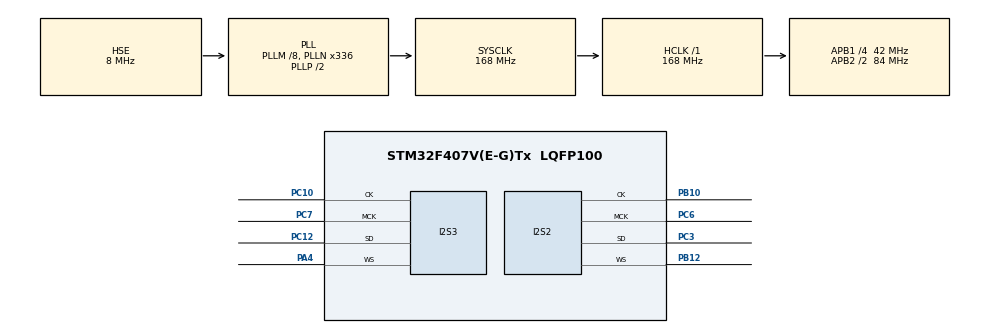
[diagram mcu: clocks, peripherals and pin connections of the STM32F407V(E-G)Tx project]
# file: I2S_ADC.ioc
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Dma.Request0=SPI2_TX
Dma.Request1=SPI3_RX
Dma.SPI2_TX.0.Direction=DMA_MEMORY_TO_PERIPH
Dma.SPI2_TX.0.FIFOMode=DMA_FIFOMODE_DISABLE
Dma.SPI2_TX.0.Instance=DMA1_Stream4
Dma.SPI2_TX.0.MemDataAlignment=DMA_MDATAALIGN_HALFWORD
Dma.SPI2_TX.0.MemInc=DMA_MINC_ENABLE
Dma.SPI2_TX.0.Mode=DMA_CIRCULAR
Dma.SPI2_TX.0.PeriphDataAlignment=DMA_PDATAALIGN_HALFWORD
Dma.SPI2_TX.0.PeriphInc=DMA_PINC_DISABLE
Dma.SPI2_TX.0.Priority=DMA_PRIORITY_LOW
Dma.SPI3_RX.1.Direction=DMA_PERIPH_TO_MEMORY
Dma.SPI3_RX.1.FIFOMode=DMA_FIFOMODE_DISABLE
Dma.SPI3_RX.1.Instance=DMA1_Stream0
Dma.SPI3_RX.1.MemDataAlignment=DMA_MDATAALIGN_WORD
Dma.SPI3_RX.1.MemInc=DMA_MINC_ENABLE
Dma.SPI3_RX.1.Mode=DMA_CIRCULAR
Dma.SPI3_RX.1.PeriphDataAlignment=DMA_PDATAALIGN_WORD
Dma.SPI3_RX.1.PeriphInc=DMA_PINC_DISABLE
Dma.SPI3_RX.1.Priority=DMA_PRIORITY_LOW
I2S2.AudioFreq=I2S_AUDIOFREQ_48K
I2S2.DataFormat=I2S_DATAFORMAT_24B
I2S2.ErrorAudioFreq=-2.34 %
I2S2.FullDuplexMode=I2S_FULLDUPLEXMODE_DISABLE
I2S2.Instance=SPI$Index
I2S2.Mode=I2S_MODE_MASTER_TX
I2S2.RealAudioFreq=46.875 KHz
I2S2.Standard=I2S_STANDARD_PHILIPS
I2S2.VirtualMode=I2S_MODE_MASTER
I2S3.AudioFreq=I2S_AUDIOFREQ_48K
I2S3.DataFormat=I2S_DATAFORMAT_24B
I2S3.ErrorAudioFreq=-2.34 %
I2S3.FullDuplexMode=I2S_FULLDUPLEXMODE_DISABLE
I2S3.Instance=SPI$Index
I2S3.Mode=I2S_MODE_MASTER_RX
I2S3.RealAudioFreq=46.875 KHz
I2S3.VirtualMode=I2S_MODE_MASTER
Mcu.Family=STM32F4
Mcu.Name=STM32F407V(E-G)Tx
Mcu.Package=LQFP100
NVIC.DMA1_Stream0_IRQn=true\:0\:0\:false\:false\:true\:false\:true
NVIC.DMA1_Stream4_IRQn=true\:0\:0\:false\:false\:true\:false\:true
NVIC.PriorityGroup=NVIC_PRIORITYGROUP_0
PA13.Mode=Serial_Wire
PA13.Signal=SYS_JTMS-SWDIO
PA14.Mode=Serial_Wire
PA14.Signal=SYS_JTCK-SWCLK
PA4.Mode=Half_Duplex_Master
PA4.Signal=I2S3_WS
PB10.Mode=Half_Duplex_Master
PB10.Signal=I2S2_CK
PB12.Mode=Half_Duplex_Master
PB12.Signal=I2S2_WS
PC10.Mode=Half_Duplex_Master
PC10.Signal=I2S3_CK
PC12.Mode=Half_Duplex_Master
PC12.Signal=I2S3_SD
PC3.Mode=Half_Duplex_Master
PC3.Signal=I2S2_SD
PC6.Mode=Master_Clock_Activated
PC6.Signal=I2S2_MCK
PC7.Mode=Master_Clock_Activated
PC7.Signal=I2S3_MCK
PH0-OSC_IN.Mode=HSE-External-Oscillator
PH0-OSC_IN.Signal=RCC_OSC_IN
PH1-OSC_OUT.Mode=HSE-External-Oscillator
PH1-OSC_OUT.Signal=RCC_OSC_OUT
ProjectManager.HeapSize=0x200
ProjectManager.StackSize=0x400
ProjectManager.TargetToolchain=STM32CubeIDE
RCC.48MHZClocksFreq_Value=48000000
RCC.AHBFreq_Value=168000000
RCC.APB1CLKDivider=RCC_HCLK_DIV4
RCC.APB1Freq_Value=42000000
RCC.APB1TimFreq_Value=84000000
RCC.APB2CLKDivider=RCC_HCLK_DIV2
RCC.APB2Freq_Value=84000000
RCC.APB2TimFreq_Value=168000000
RCC.CortexFreq_Value=168000000
RCC.HCLKFreq_Value=168000000
RCC.HSE_VALUE=8000000
RCC.HSI_VALUE=16000000
RCC.LSE_VALUE=32768
RCC.PLLM=8
RCC.PLLN=336
RCC.PLLQ=7
RCC.PLLSourceVirtual=RCC_PLLSOURCE_HSE
RCC.SYSCLKFreq_VALUE=168000000
RCC.SYSCLKSource=RCC_SYSCLKSOURCE_PLLCLK
RCC.VCOOutputFreq_Value=336000000
TIM2.Period=849
VP_TIM2_VS_ClockSourceINT.Mode=Internal
board=STM32F4DISCOVERY

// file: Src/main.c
/* USER CODE BEGIN Header */
/**
  ******************************************************************************
  * @file           : main.c
  * @brief          : Main program body
  ******************************************************************************
  * @attention
  *
  * <h2><center>&copy; Copyright (c) 2019 STMicroelectronics.
  * All rights reserved.</center></h2>
  *
  * This software component is licensed by ST under Ultimate Liberty license
  * SLA0044, the "License"; You may not use this file except in compliance with
  * the License. You may obtain a copy of the License at:
  *                             www.st.com/SLA0044
  *
  ******************************************************************************
  */
/* USER CODE END Header */

#include "main.h"

/* USER CODE BEGIN Includes */
#include <math.h>
/* USER CODE END Includes */

/* USER CODE BEGIN PD */

//#of samples user accesses per data block
#define PI 3.14159f

//sample rate and output frequency of sine
#define F_SAMPLE		48000.0f
#define F_OUT			1000.0f

//#of samples user accesses per data block
#define DATASIZE 128

//full size of buffer
#define FULLBUFFERSIZE 256

/* USER CODE END PD */

I2S_HandleTypeDef hi2s2;
I2S_HandleTypeDef hi2s3;
DMA_HandleTypeDef hdma_spi2_tx;
DMA_HandleTypeDef hdma_spi3_rx;

TIM_HandleTypeDef htim2;

/* USER CODE BEGIN PV */
//ADC and DAC buffers
struct uint_24 {
    unsigned uint24 :24;
} __attribute__((packed));

uint32_t adc_val[FULLBUFFERSIZE];
uint32_t dac_val[FULLBUFFERSIZE];

//pointers to the half-buffer, which will get processed
static volatile uint32_t* inbuffptr;
static volatile uint32_t* outbuffptr;

/*float mySinVal;
float sample_dt;
uint16_t sample_N;
uint16_t i_t;

int32_t dataI2S[4400];
uint16_t data;*/

/* USER CODE END PV */

void SystemClock_Config(void);
static void MX_GPIO_Init(void);
static void MX_DMA_Init(void);
static void MX_I2S2_Init(void);
static void MX_TIM2_Init(void);
static void MX_I2S3_Init(void);

/* USER CODE BEGIN 0 */
/*void HAL_I2S_RxHalfCpltCallback(I2S_HandleTypeDef *hi2s)
{

	//first half of ADC buffer is full
		inbuffptr = &adc_val[0];
		outbuffptr = &dac_val[DATASIZE];

}*/

/*void HAL_I2S_RxCpltCallback(I2S_HandleTypeDef *hi2s)
{

	//second half of ADC buffer is full
			inbuffptr = &adc_val[DATASIZE];
			outbuffptr = &dac_val[0];

}*/

void processDSP(){
	for(int n = 0; n < DATASIZE; n++){
		//input coming in is identical to output
		outbuffptr[n] = inbuffptr[n];
	}
}
/* USER CODE END 0 */

int main(void)
{
  /* USER CODE BEGIN 1 */
	//sample_dt = F_OUT/F_SAMPLE;
	//sample_N = F_SAMPLE/F_OUT;
  /* USER CODE END 1 */

  /* MCU Configuration--------------------------------------------------------*/

  /* Reset of all peripherals, Initializes the Flash interface and the Systick. */
  HAL_Init();

  /* Configure the system clock */
  SystemClock_Config();

  /* Initialize all configured peripherals */
  MX_GPIO_Init();
  MX_DMA_Init();
  MX_I2S2_Init();
  MX_TIM2_Init();
  MX_I2S3_Init();
  /* USER CODE BEGIN 2 */

  //Build Sine wave
    /*for (uint16_t i=0; i<sample_N; i++) {
    	mySinVal = sinf(i*2*PI*sample_dt);
    	dataI2S[i*2] = (mySinVal)*8388607;    //left data (L WS) (0 2 4 6 8 10 12)
    	dataI2S[i*2 + 1] = (mySinVal + 1)*4194303; //Right data (H WS)  (1 3 5 7 9 11 13)
    	dataI2S[i*2] = ((dataI2S[i*2] & 0x00FFFF00) >> 8) | ((dataI2S[i*2] & 0xFF) << 24);
    	dataI2S[i*2 + 1] = ((dataI2S[i*2 + 1] & 0x00FFFF00) >> 8) | ((dataI2S[i*2 + 1] & 0xFF) << 24);
    }*/

  /* USER CODE END 2 */

  /* Infinite loop */
  /* USER CODE BEGIN WHILE */
  while (1)
  {

	  HAL_I2S_Receive_DMA(&hi2s3, (uint16_t *)adc_val, DATASIZE);
	  HAL_I2S_Transmit_DMA(&hi2s2, (uint16_t *)adc_val, DATASIZE);
    /* USER CODE END WHILE */

  }
}

void SystemClock_Config(void)
{
  RCC_OscInitTypeDef RCC_OscInitStruct = {0};
  RCC_ClkInitTypeDef RCC_ClkInitStruct = {0};
  RCC_PeriphCLKInitTypeDef PeriphClkInitStruct = {0};

  /** Configure the main internal regulator output voltage
  */
  __HAL_RCC_PWR_CLK_ENABLE();
  __HAL_PWR_VOLTAGESCALING_CONFIG(PWR_REGULATOR_VOLTAGE_SCALE1);
  /** Initializes the CPU, AHB and APB busses clocks
  */
  RCC_OscInitStruct.OscillatorType = RCC_OSCILLATORTYPE_HSE;
  RCC_OscInitStruct.HSEState = RCC_HSE_ON;
  RCC_OscInitStruct.PLL.PLLState = RCC_PLL_ON;
  RCC_OscInitStruct.PLL.PLLSource = RCC_PLLSOURCE_HSE;
  RCC_OscInitStruct.PLL.PLLM = 8;
  RCC_OscInitStruct.PLL.PLLN = 336;
  RCC_OscInitStruct.PLL.PLLP = RCC_PLLP_DIV2;
  RCC_OscInitStruct.PLL.PLLQ = 7;
  if (HAL_RCC_OscConfig(&RCC_OscInitStruct) != HAL_OK)
  {
    Error_Handler();
  }
  /** Initializes the CPU, AHB and APB busses clocks
  */
  RCC_ClkInitStruct.ClockType = RCC_CLOCKTYPE_HCLK|RCC_CLOCKTYPE_SYSCLK
                              |RCC_CLOCKTYPE_PCLK1|RCC_CLOCKTYPE_PCLK2;
  RCC_ClkInitStruct.SYSCLKSource = RCC_SYSCLKSOURCE_PLLCLK;
  RCC_ClkInitStruct.AHBCLKDivider = RCC_SYSCLK_DIV1;
  RCC_ClkInitStruct.APB1CLKDivider = RCC_HCLK_DIV4;
  RCC_ClkInitStruct.APB2CLKDivider = RCC_HCLK_DIV2;

  if (HAL_RCC_ClockConfig(&RCC_ClkInitStruct, FLASH_LATENCY_5) != HAL_OK)
  {
    Error_Handler();
  }
  PeriphClkInitStruct.PeriphClockSelection = RCC_PERIPHCLK_I2S;
  PeriphClkInitStruct.PLLI2S.PLLI2SN = 192;
  PeriphClkInitStruct.PLLI2S.PLLI2SR = 2;
  if (HAL_RCCEx_PeriphCLKConfig(&PeriphClkInitStruct) != HAL_OK)
  {
    Error_Handler();
  }
}

static void MX_I2S2_Init(void)
{

  hi2s2.Instance = SPI2;
  hi2s2.Init.Mode = I2S_MODE_MASTER_TX;
  hi2s2.Init.Standard = I2S_STANDARD_PHILIPS;
  hi2s2.Init.DataFormat = I2S_DATAFORMAT_24B;
  hi2s2.Init.MCLKOutput = I2S_MCLKOUTPUT_ENABLE;
  hi2s2.Init.AudioFreq = I2S_AUDIOFREQ_48K;
  hi2s2.Init.CPOL = I2S_CPOL_LOW;
  hi2s2.Init.ClockSource = I2S_CLOCK_PLL;
  hi2s2.Init.FullDuplexMode = I2S_FULLDUPLEXMODE_DISABLE;
  if (HAL_I2S_Init(&hi2s2) != HAL_OK)
  {
    Error_Handler();
  }

}

static void MX_I2S3_Init(void)
{

  hi2s3.Instance = SPI3;
  hi2s3.Init.Mode = I2S_MODE_MASTER_RX;
  hi2s3.Init.Standard = I2S_STANDARD_PHILIPS;
  hi2s3.Init.DataFormat = I2S_DATAFORMAT_24B;
  hi2s3.Init.MCLKOutput = I2S_MCLKOUTPUT_ENABLE;
  hi2s3.Init.AudioFreq = I2S_AUDIOFREQ_48K;
  hi2s3.Init.CPOL = I2S_CPOL_LOW;
  hi2s3.Init.ClockSource = I2S_CLOCK_PLL;
  hi2s3.Init.FullDuplexMode = I2S_FULLDUPLEXMODE_DISABLE;
  if (HAL_I2S_Init(&hi2s3) != HAL_OK)
  {
    Error_Handler();
  }

}

static void MX_TIM2_Init(void)
{

  TIM_ClockConfigTypeDef sClockSourceConfig = {0};
  TIM_MasterConfigTypeDef sMasterConfig = {0};

  htim2.Instance = TIM2;
  htim2.Init.Prescaler = 0;
  htim2.Init.CounterMode = TIM_COUNTERMODE_UP;
  htim2.Init.Period = 849;
  htim2.Init.ClockDivision = TIM_CLOCKDIVISION_DIV1;
  htim2.Init.AutoReloadPreload = TIM_AUTORELOAD_PRELOAD_DISABLE;
  if (HAL_TIM_Base_Init(&htim2) != HAL_OK)
  {
    Error_Handler();
  }
  sClockSourceConfig.ClockSource = TIM_CLOCKSOURCE_INTERNAL;
  if (HAL_TIM_ConfigClockSource(&htim2, &sClockSourceConfig) != HAL_OK)
  {
    Error_Handler();
  }
  sMasterConfig.MasterOutputTrigger = TIM_TRGO_RESET;
  sMasterConfig.MasterSlaveMode = TIM_MASTERSLAVEMODE_DISABLE;
  if (HAL_TIMEx_MasterConfigSynchronization(&htim2, &sMasterConfig) != HAL_OK)
  {
    Error_Handler();
  }

}

static void MX_DMA_Init(void)
{

  /* DMA controller clock enable */
  __HAL_RCC_DMA1_CLK_ENABLE();

  /* DMA interrupt init */
  /* DMA1_Stream0_IRQn interrupt configuration */
  HAL_NVIC_SetPriority(DMA1_Stream0_IRQn, 0, 0);
  HAL_NVIC_EnableIRQ(DMA1_Stream0_IRQn);
  /* DMA1_Stream4_IRQn interrupt configuration */
  HAL_NVIC_SetPriority(DMA1_Stream4_IRQn, 0, 0);
  HAL_NVIC_EnableIRQ(DMA1_Stream4_IRQn);

}

static void MX_GPIO_Init(void)
{

  /* GPIO Ports Clock Enable */
  __HAL_RCC_GPIOH_CLK_ENABLE();
  __HAL_RCC_GPIOC_CLK_ENABLE();
  __HAL_RCC_GPIOA_CLK_ENABLE();
  __HAL_RCC_GPIOB_CLK_ENABLE();

}

void Error_Handler(void)
{
}

/************************ (C) COPYRIGHT STMicroelectronics *****END OF FILE****/
